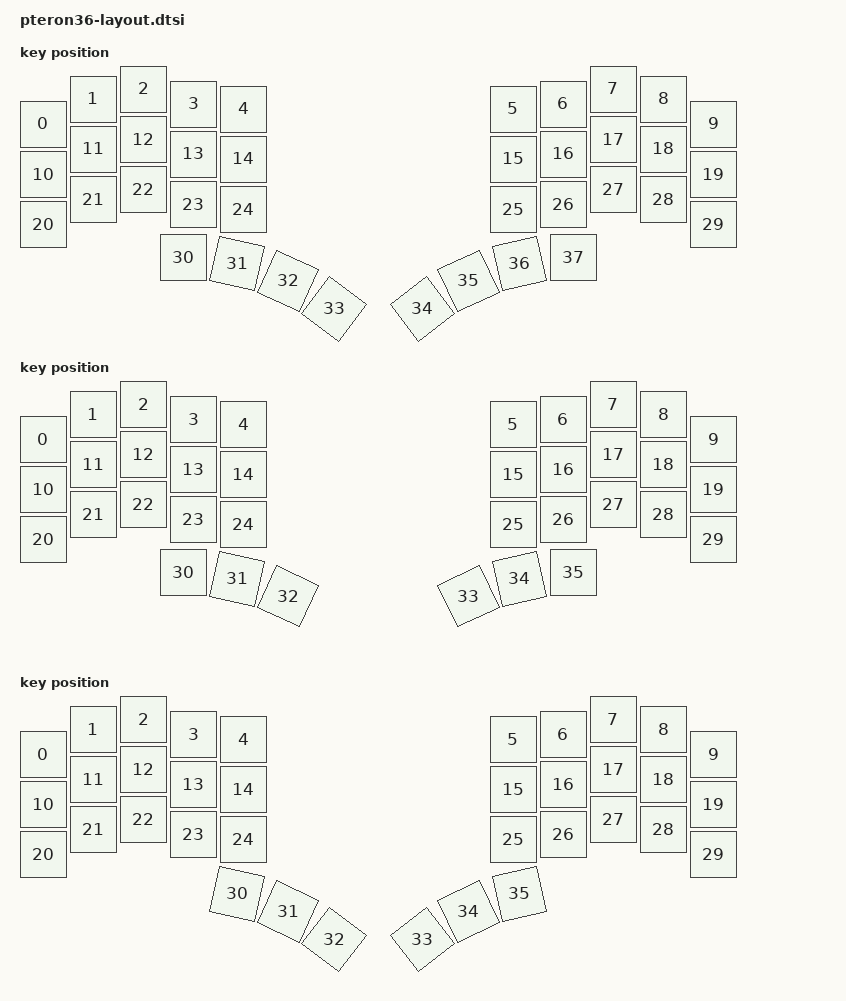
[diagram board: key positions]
#include <physical_layouts.dtsi>

/ {
    pteron36_all_thumbs: pteron36_all_thumbs {
        compatible = "zmk,physical-layout";
        display-name = "3x5 + 4";

        keys  //                     w   h    x    y     rot    rx    ry
            = <&key_physical_attrs 100 100    0   70       0     0     0>
            , <&key_physical_attrs 100 100  100   20       0     0     0>
            , <&key_physical_attrs 100 100  201    0       0     0     0>
            , <&key_physical_attrs 100 100  301   30       0     0     0>
            , <&key_physical_attrs 100 100  401   40       0     0     0>
            , <&key_physical_attrs 100 100  940   40       0     0     0>
            , <&key_physical_attrs 100 100 1040   30       0     0     0>
            , <&key_physical_attrs 100 100 1140    0       0     0     0>
            , <&key_physical_attrs 100 100 1241   20       0     0     0>
            , <&key_physical_attrs 100 100 1341   70       0     0     0>
            , <&key_physical_attrs 100 100    0  171       0     0     0>
            , <&key_physical_attrs 100 100  101  120       0     0     0>
            , <&key_physical_attrs 100 100  201  101       0     0     0>
            , <&key_physical_attrs 100 100  301  130       0     0     0>
            , <&key_physical_attrs 100 100  401  140       0     0     0>
            , <&key_physical_attrs 100 100  940  140       0     0     0>
            , <&key_physical_attrs 100 100 1040  130       0     0     0>
            , <&key_physical_attrs 100 100 1140  101       0     0     0>
            , <&key_physical_attrs 100 100 1240  120       0     0     0>
            , <&key_physical_attrs 100 100 1341  171       0     0     0>
            , <&key_physical_attrs 100 100    0  271       0     0     0>
            , <&key_physical_attrs 100 100  100  221       0     0     0>
            , <&key_physical_attrs 100 100  201  201       0     0     0>
            , <&key_physical_attrs 100 100  301  231       0     0     0>
            , <&key_physical_attrs 100 100  401  241       0     0     0>
            , <&key_physical_attrs 100 100  940  241       0     0     0>
            , <&key_physical_attrs 100 100 1040  231       0     0     0>
            , <&key_physical_attrs 100 100 1140  201       0     0     0>
            , <&key_physical_attrs 100 100 1240  221       0     0     0>
            , <&key_physical_attrs 100 100 1341  271       0     0     0>
            , <&key_physical_attrs 100 100  280  337       0     0     0>
            , <&key_physical_attrs 100 100  388  349    1250   438   399>
            , <&key_physical_attrs 100 100  490  384    2500   540   434>
            , <&key_physical_attrs 100 100  582  440    3750   632   490>
            , <&key_physical_attrs 100 100  759  440 (-3750)   809   490>
            , <&key_physical_attrs 100 100  851  384 (-2500)   901   434>
            , <&key_physical_attrs 100 100  953  349 (-1250)  1003   399>
            , <&key_physical_attrs 100 100 1061  337       0     0     0>
            ;
    };

    pteron36_inner_thumbs: pteron36_inner_thumbs {
        compatible = "zmk,physical-layout";
        display-name = "Default";

        keys  //                     w   h    x    y     rot    rx    ry
            = <&key_physical_attrs 100 100    0   70       0     0     0>
            , <&key_physical_attrs 100 100  100   20       0     0     0>
            , <&key_physical_attrs 100 100  201    0       0     0     0>
            , <&key_physical_attrs 100 100  301   30       0     0     0>
            , <&key_physical_attrs 100 100  401   40       0     0     0>
            , <&key_physical_attrs 100 100  940   40       0     0     0>
            , <&key_physical_attrs 100 100 1040   30       0     0     0>
            , <&key_physical_attrs 100 100 1140    0       0     0     0>
            , <&key_physical_attrs 100 100 1241   20       0     0     0>
            , <&key_physical_attrs 100 100 1341   70       0     0     0>
            , <&key_physical_attrs 100 100    0  171       0     0     0>
            , <&key_physical_attrs 100 100  101  120       0     0     0>
            , <&key_physical_attrs 100 100  201  101       0     0     0>
            , <&key_physical_attrs 100 100  301  130       0     0     0>
            , <&key_physical_attrs 100 100  401  140       0     0     0>
            , <&key_physical_attrs 100 100  940  140       0     0     0>
            , <&key_physical_attrs 100 100 1040  130       0     0     0>
            , <&key_physical_attrs 100 100 1140  101       0     0     0>
            , <&key_physical_attrs 100 100 1240  120       0     0     0>
            , <&key_physical_attrs 100 100 1341  171       0     0     0>
            , <&key_physical_attrs 100 100    0  271       0     0     0>
            , <&key_physical_attrs 100 100  100  221       0     0     0>
            , <&key_physical_attrs 100 100  201  201       0     0     0>
            , <&key_physical_attrs 100 100  301  231       0     0     0>
            , <&key_physical_attrs 100 100  401  241       0     0     0>
            , <&key_physical_attrs 100 100  940  241       0     0     0>
            , <&key_physical_attrs 100 100 1040  231       0     0     0>
            , <&key_physical_attrs 100 100 1140  201       0     0     0>
            , <&key_physical_attrs 100 100 1240  221       0     0     0>
            , <&key_physical_attrs 100 100 1341  271       0     0     0>
            , <&key_physical_attrs 100 100  280  337       0     0     0>
            , <&key_physical_attrs 100 100  388  349    1250   438   399>
            , <&key_physical_attrs 100 100  490  384    2500   540   434>
            , <&key_physical_attrs 100 100  851  384 (-2500)   901   434>
            , <&key_physical_attrs 100 100  953  349 (-1250)  1003   399>
            , <&key_physical_attrs 100 100 1061  337       0     0     0>
            ;
    };

    pteron36_outer_thumbs: pteron36_outer_thumbs {
        compatible = "zmk,physical-layout";
        display-name = "Default";

        kscan = <&kscan0>;
        transform = <&matrix_transform0>;

        keys  //                     w   h    x    y     rot    rx    ry
            = <&key_physical_attrs 100 100    0   70       0     0     0>
            , <&key_physical_attrs 100 100  100   20       0     0     0>
            , <&key_physical_attrs 100 100  201    0       0     0     0>
            , <&key_physical_attrs 100 100  301   30       0     0     0>
            , <&key_physical_attrs 100 100  401   40       0     0     0>
            , <&key_physical_attrs 100 100  940   40       0     0     0>
            , <&key_physical_attrs 100 100 1040   30       0     0     0>
            , <&key_physical_attrs 100 100 1140    0       0     0     0>
            , <&key_physical_attrs 100 100 1241   20       0     0     0>
            , <&key_physical_attrs 100 100 1341   70       0     0     0>
            , <&key_physical_attrs 100 100    0  171       0     0     0>
            , <&key_physical_attrs 100 100  101  120       0     0     0>
            , <&key_physical_attrs 100 100  201  101       0     0     0>
            , <&key_physical_attrs 100 100  301  130       0     0     0>
            , <&key_physical_attrs 100 100  401  140       0     0     0>
            , <&key_physical_attrs 100 100  940  140       0     0     0>
            , <&key_physical_attrs 100 100 1040  130       0     0     0>
            , <&key_physical_attrs 100 100 1140  101       0     0     0>
            , <&key_physical_attrs 100 100 1240  120       0     0     0>
            , <&key_physical_attrs 100 100 1341  171       0     0     0>
            , <&key_physical_attrs 100 100    0  271       0     0     0>
            , <&key_physical_attrs 100 100  100  221       0     0     0>
            , <&key_physical_attrs 100 100  201  201       0     0     0>
            , <&key_physical_attrs 100 100  301  231       0     0     0>
            , <&key_physical_attrs 100 100  401  241       0     0     0>
            , <&key_physical_attrs 100 100  940  241       0     0     0>
            , <&key_physical_attrs 100 100 1040  231       0     0     0>
            , <&key_physical_attrs 100 100 1140  201       0     0     0>
            , <&key_physical_attrs 100 100 1240  221       0     0     0>
            , <&key_physical_attrs 100 100 1341  271       0     0     0>
            , <&key_physical_attrs 100 100  388  349    1250   438   399>
            , <&key_physical_attrs 100 100  490  384    2500   540   434>
            , <&key_physical_attrs 100 100  582  440    3750   632   490>
            , <&key_physical_attrs 100 100  759  440 (-3750)   809   490>
            , <&key_physical_attrs 100 100  851  384 (-2500)   901   434>
            , <&key_physical_attrs 100 100  953  349 (-1250)  1003   399>
            ;
    };

    pteron36_two_thumbs: pteron36_two_thumbs {
        compatible = "zmk,physical-layout";
        display-name = "Default";

        kscan = <&kscan0>;
        transform = <&matrix_transform0>;

        keys  //                     w   h    x    y     rot    rx    ry
            = <&key_physical_attrs 100 100    0   70       0     0     0>
            , <&key_physical_attrs 100 100  100   20       0     0     0>
            , <&key_physical_attrs 100 100  201    0       0     0     0>
            , <&key_physical_attrs 100 100  301   30       0     0     0>
            , <&key_physical_attrs 100 100  401   40       0     0     0>
            , <&key_physical_attrs 100 100  940   40       0     0     0>
            , <&key_physical_attrs 100 100 1040   30       0     0     0>
            , <&key_physical_attrs 100 100 1140    0       0     0     0>
            , <&key_physical_attrs 100 100 1241   20       0     0     0>
            , <&key_physical_attrs 100 100 1341   70       0     0     0>
            , <&key_physical_attrs 100 100    0  171       0     0     0>
            , <&key_physical_attrs 100 100  101  120       0     0     0>
            , <&key_physical_attrs 100 100  201  101       0     0     0>
            , <&key_physical_attrs 100 100  301  130       0     0     0>
            , <&key_physical_attrs 100 100  401  140       0     0     0>
            , <&key_physical_attrs 100 100  940  140       0     0     0>
            , <&key_physical_attrs 100 100 1040  130       0     0     0>
            , <&key_physical_attrs 100 100 1140  101       0     0     0>
            , <&key_physical_attrs 100 100 1240  120       0     0     0>
            , <&key_physical_attrs 100 100 1341  171       0     0     0>
            , <&key_physical_attrs 100 100    0  271       0     0     0>
            , <&key_physical_attrs 100 100  100  221       0     0     0>
            , <&key_physical_attrs 100 100  201  201       0     0     0>
            , <&key_physical_attrs 100 100  301  231       0     0     0>
            , <&key_physical_attrs 100 100  401  241       0     0     0>
            , <&key_physical_attrs 100 100  940  241       0     0     0>
            , <&key_physical_attrs 100 100 1040  231       0     0     0>
            , <&key_physical_attrs 100 100 1140  201       0     0     0>
            , <&key_physical_attrs 100 100 1240  221       0     0     0>
            , <&key_physical_attrs 100 100 1341  271       0     0     0>
            , <&key_physical_attrs 100 100  388  349    1250   438   399>
            , <&key_physical_attrs 100 100  490  384    2500   540   434>
            , <&key_physical_attrs 100 100  851  384 (-2500)   901   434>
            , <&key_physical_attrs 100 100  953  349 (-1250)  1003   399>
            ;
    };
};
